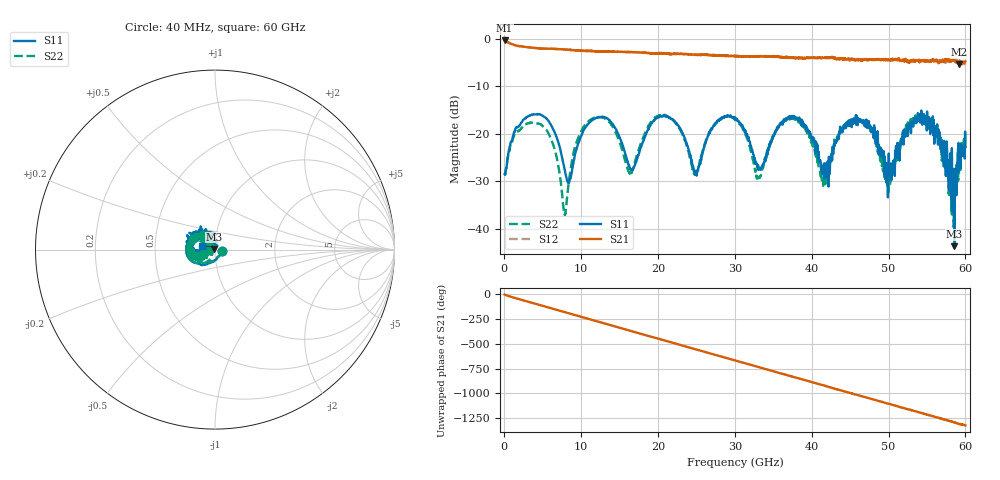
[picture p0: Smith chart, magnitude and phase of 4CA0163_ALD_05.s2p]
! File created by 'SoftPlot +Plus+ Measurement Management Software'
! SoftPlot +Plus+ Measurement Management Software
! Start 40.000000 MHz  Stop 60.000000 GHz  Points 1601
# MHZ S RI R 50
! S-Parameter data, F S11 S21 S12 S22
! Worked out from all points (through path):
!   1601 points, 40 MHz to 60 GHz, reference 50 ohm
!   highest |S21| = -0.35 dB at 40 MHz (marker M1); lowest = -5.4 dB at 59.21 GHz (marker M2)
!   group delay of S21, straight-line fit = 61.1 ps
!   lowest |S11| = -43.7 dB at 58.58 GHz (marker M3), VSWR 1.01, Z = 49.5 + j0.357 ohm
!   |S11| at or under -10 dB: start of sweep to end of sweep
!   |S22| runs from -39.7 to -16.0 dB; largest |S21 - S12| = 0.059
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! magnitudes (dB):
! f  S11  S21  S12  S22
! 40 MHz  -28.4  -0.4  -0.3  -28.5
! 1.539 GHz  -18.7  -1.4  -1.4  -19.5
! 4.762 GHz  -16.0  -2.0  -2.0  -18.0
! 7.872 GHz  -27.7  -2.3  -2.2  -37.1
! 10.05 GHz  -20.3  -2.6  -2.5  -19.3
! 13.42 GHz  -16.8  -2.7  -2.6  -17.1
! 16.42 GHz  -27.3  -2.8  -2.8  -28.5
! 20.05 GHz  -16.6  -3.1  -3.0  -16.2
! 24.85 GHz  -28.4  -3.4  -3.4  -28.5
! 27.21 GHz  -18.4  -3.4  -3.5  -18.3
! 30.02 GHz  -16.6  -3.6  -3.6  -17.0
! 33.09 GHz  -27.2  -3.7  -3.7  -29.1
! 36.62 GHz  -16.8  -3.9  -3.7  -17.0
! 40.03 GHz  -21.0  -4.0  -3.9  -22.0
! 41.64 GHz  -29.4  -4.0  -4.1  -30.0
! 43.96 GHz  -18.9  -4.3  -4.2  -19.0
! 46.81 GHz  -18.1  -4.3  -4.4  -17.8
! 50.03 GHz  -24.2  -4.4  -4.4  -32.2
! 54.53 GHz  -16.9  -4.6  -4.7  -16.5
! 58.58 GHz  -43.7  -4.6  -4.6  -30.0
! 59.21 GHz  -24.3  -5.4  -4.5  -26.9
! 60 GHz  -22.8  -4.8  -5.3  -20.2
